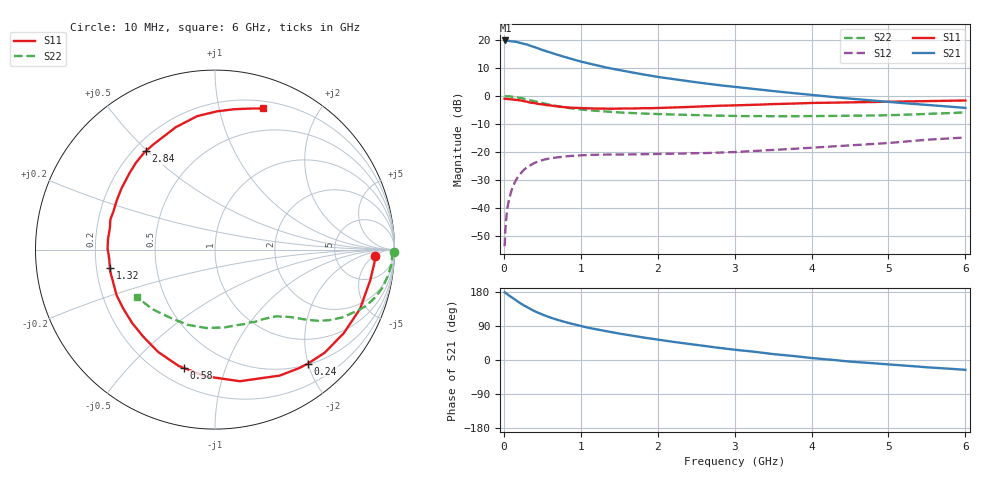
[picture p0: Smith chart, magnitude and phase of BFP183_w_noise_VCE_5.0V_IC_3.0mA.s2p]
! Infineon Technologies  Discrete & RF Semiconductors
! BFP183
! VCE = 5.0 V,  IC =  3.0 mA
! Common Emitter S-Parameters:  Jan 2016
# GHz  S  MA  R  50
!  f  S11  S21  S12  S22
! GHz  MAG  ANG  MAG  ANG  MAG  ANG  MAG  ANG
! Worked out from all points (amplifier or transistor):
!   210 points, 10 MHz to 6 GHz, reference 50 ohm
!   highest |S21| = 19.8 dB at 20 MHz (marker M1)
!   |S21| within 3 dB of that: start of sweep to 462.2 MHz
!   unconditionally stable (mu >= 1): 1.887 GHz to 5.78 GHz
!   at 185 MHz: K = 0.12, MSG = 24.0 dB, |S12| = -28.8 dB
!   at 1.52 GHz: K = 0.82, MSG = 15.0 dB, |S12| = -20.9 dB
!   at 6 GHz: K = 0.95, MSG = 5.3 dB, |S12| = -14.8 dB
!   lowest NFmin = 1.10 dB at 450 MHz
!   S11 on the Smith chart (normalised r, x): 10 MHz: 16, -5; 240 MHz: 0.52, -2.00; 580 MHz: 0.30, -0.73; 1.32 GHz: 0.26, -0.08; 2.84 GHz: 0.25, +0.50; 6 GHz: 0.27, +1.36
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0.01  0.8902 -2.2  9.631 178.7  0.0021 91.0  0.9983 -0.9
0.02  0.8914 -4.6  9.756 177.5  0.0041 87.1  0.987 -1.7
0.055  0.8794 -12.2  9.671 171.9  0.0117 85.2  0.9863 -4.8
0.15  0.8552 -33.0  9.282 158.3  0.0304 71.6  0.9557 -13.0
0.2  0.8388 -43.2  8.941 151.6  0.0388 66.4  0.9297 -16.7
0.24  0.8196 -50.8  8.616 146.6  0.045 62.6  0.9072 -19.4
0.3  0.7892 -62.8  8.253 139.7  0.0537 57.4  0.8668 -23.0
0.4  0.7463 -79.3  7.44 128.7  0.0642 49.2  0.803 -28.1
0.5  0.7073 -94.6  6.614 119.8  0.0719 43.0  0.7468 -31.8
0.58  0.6818 -104.8  6.122 113.8  0.0763 38.9  0.7081 -34.0
0.7  0.6522 -119.1  5.39 105.7  0.0809 33.7  0.6565 -36.7
0.8  0.6282 -129.7  4.934 99.6  0.0837 30.8  0.624 -38.4
1.02  0.606 -149.0  4.041 88.7  0.0873 25.6  0.5709 -41.3
1.1  0.6042 -155.2  3.808 85.0  0.0887 24.3  0.5572 -42.3
1.32  0.5948 -169.9  3.235 76.5  0.0901 21.5  0.5279 -44.9
1.6  0.5989 174.1  2.728 66.4  0.0909 19.8  0.5006 -48.2
2.02  0.6115 153.9  2.166 53.3  0.0926 19.5  0.4757 -54.1
2.84  0.6706 125.0  1.535 30.9  0.0982 22.0  0.4456 -68.9
3.1  0.6839 117.7  1.403 25.1  0.1017 23.4  0.438 -74.5
4.1  0.753 95.9  1.013 3.5  0.1216 25.6  0.4387 -99.0
5.1  0.7923 81.1  0.762 -13.1  0.149 25.5  0.4576 -125.9
6  0.8306 71.2  0.612 -25.9  0.1821 19.8  0.5095 -148.6
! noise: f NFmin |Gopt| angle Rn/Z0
0.45  1.1  0.37  35  0.3
0.9  1.15  0.34  85  0.23
1.8  1.9  0.35  160  0.13
